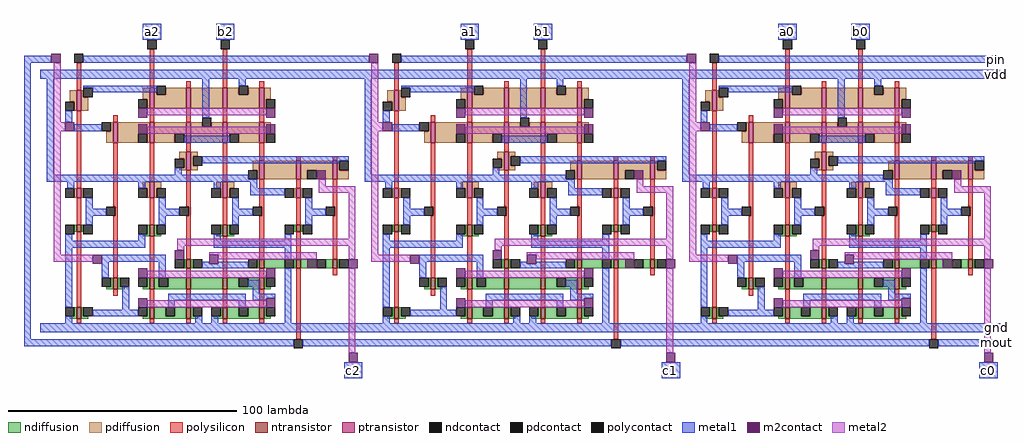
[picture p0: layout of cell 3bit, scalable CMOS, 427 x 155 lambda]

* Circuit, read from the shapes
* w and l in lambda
.subckt 3bit a0 a1 a2 b0 b1 b2 c0 c1 c2 gnd mout pin vdd
M1 n1 P3_take3_0_0/pin gnd VSUBS nfet w=5 l=2
M2 P3_take3_0_0/pinbar P3_take3_0_0/pin gnd VSUBS nfet w=3 l=2
M3 n1 P3_take3_0_0/pinbar mout VSUBS nfet w=5 l=2
M4 n2 a2 n1 VSUBS nfet w=5 l=2
M5 mout a2 n3 VSUBS nfet w=5 l=2
M6 P3_take3_0_0/abar a2 gnd VSUBS nfet w=5 l=2
M7 gnd P3_take3_0_0/abar n2 VSUBS nfet w=5 l=2
M8 n4 P3_take3_0_0/abar mout VSUBS nfet w=5 l=2
M9 n5 P3_take3_0_0/abar c2 VSUBS nfet w=4 l=2
M10 n2 b2 gnd VSUBS nfet w=5 l=2
M11 n1 b2 n4 VSUBS nfet w=5 l=2
M12 P3_take3_0_0/bbar b2 gnd VSUBS nfet w=5 l=2
M13 n1 P3_take3_0_0/bbar n2 VSUBS nfet w=5 l=2
M14 n3 P3_take3_0_0/bbar n1 VSUBS nfet w=5 l=2
M15 gnd P3_take3_0_0/bbar n5 VSUBS nfet w=4 l=2
M16 n5 mout gnd VSUBS nfet w=4 l=2
M17 P3_take3_0_0/minbar mout gnd VSUBS nfet w=3 l=2
M18 c2 P3_take3_0_0/minbar n5 VSUBS nfet w=4 l=2
M19 n6 P3_take3_0_1/pin gnd VSUBS nfet w=5 l=2
M20 P3_take3_0_1/pinbar P3_take3_0_1/pin gnd VSUBS nfet w=3 l=2
M21 n6 P3_take3_0_1/pinbar P3_take3_0_0/pin VSUBS nfet w=5 l=2
M22 n7 a1 n6 VSUBS nfet w=5 l=2
M23 P3_take3_0_0/pin a1 n8 VSUBS nfet w=5 l=2
M24 P3_take3_0_1/abar a1 gnd VSUBS nfet w=5 l=2
M25 gnd P3_take3_0_1/abar n7 VSUBS nfet w=5 l=2
M26 n9 P3_take3_0_1/abar P3_take3_0_0/pin VSUBS nfet w=5 l=2
M27 n10 P3_take3_0_1/abar c1 VSUBS nfet w=4 l=2
M28 n7 b1 gnd VSUBS nfet w=5 l=2
M29 n6 b1 n9 VSUBS nfet w=5 l=2
M30 P3_take3_0_1/bbar b1 gnd VSUBS nfet w=5 l=2
M31 n6 P3_take3_0_1/bbar n7 VSUBS nfet w=5 l=2
M32 n8 P3_take3_0_1/bbar n6 VSUBS nfet w=5 l=2
M33 gnd P3_take3_0_1/bbar n10 VSUBS nfet w=4 l=2
M34 n10 mout gnd VSUBS nfet w=4 l=2
M35 P3_take3_0_1/minbar mout gnd VSUBS nfet w=3 l=2
M36 c1 P3_take3_0_1/minbar n10 VSUBS nfet w=4 l=2
M37 n11 pin gnd VSUBS nfet w=5 l=2
M38 P3_take3_0_2/pinbar pin gnd VSUBS nfet w=3 l=2
M39 n11 P3_take3_0_2/pinbar P3_take3_0_1/pin VSUBS nfet w=5 l=2
M40 n12 a0 n11 VSUBS nfet w=5 l=2
M41 P3_take3_0_1/pin a0 n13 VSUBS nfet w=5 l=2
M42 P3_take3_0_2/abar a0 gnd VSUBS nfet w=5 l=2
M43 gnd P3_take3_0_2/abar n12 VSUBS nfet w=5 l=2
M44 n14 P3_take3_0_2/abar P3_take3_0_1/pin VSUBS nfet w=5 l=2
M45 n15 P3_take3_0_2/abar c0 VSUBS nfet w=4 l=2
M46 n12 b0 gnd VSUBS nfet w=5 l=2
M47 n11 b0 n14 VSUBS nfet w=5 l=2
M48 P3_take3_0_2/bbar b0 gnd VSUBS nfet w=5 l=2
M49 n11 P3_take3_0_2/bbar n12 VSUBS nfet w=5 l=2
M50 n13 P3_take3_0_2/bbar n11 VSUBS nfet w=5 l=2
M51 gnd P3_take3_0_2/bbar n15 VSUBS nfet w=4 l=2
M52 n15 mout gnd VSUBS nfet w=4 l=2
M53 P3_take3_0_2/minbar mout gnd VSUBS nfet w=3 l=2
M54 c0 P3_take3_0_2/minbar n15 VSUBS nfet w=4 l=2
M55 P3_take3_0_0/pinbar P3_take3_0_0/pin vdd NWELL pfet w=4 l=2
M56 n16 P3_take3_0_0/pin mout NWELL pfet w=9 l=2
M57 n17 P3_take3_0_0/pinbar mout NWELL pfet w=9 l=2
M58 P3_take3_0_0/abar a2 vdd NWELL pfet w=7 l=2
M59 n18 a2 n17 NWELL pfet w=9 l=2
M60 n16 a2 n19 NWELL pfet w=9 l=2
M61 n20 P3_take3_0_0/abar vdd NWELL pfet w=8 l=2
M62 vdd P3_take3_0_0/abar n18 NWELL pfet w=9 l=2
M63 n21 P3_take3_0_0/abar n16 NWELL pfet w=9 l=2
M64 P3_take3_0_0/bbar b2 vdd NWELL pfet w=7 l=2
M65 n18 b2 vdd NWELL pfet w=9 l=2
M66 vdd b2 n21 NWELL pfet w=9 l=2
M67 n22 P3_take3_0_0/bbar vdd NWELL pfet w=8 l=2
M68 n17 P3_take3_0_0/bbar n18 NWELL pfet w=9 l=2
M69 n19 P3_take3_0_0/bbar vdd NWELL pfet w=9 l=2
M70 P3_take3_0_0/minbar mout vdd NWELL pfet w=4 l=2
M71 c2 mout n22 NWELL pfet w=8 l=2
M72 n20 P3_take3_0_0/minbar c2 NWELL pfet w=8 l=2
M73 P3_take3_0_1/pinbar P3_take3_0_1/pin vdd NWELL pfet w=4 l=2
M74 n23 P3_take3_0_1/pin P3_take3_0_0/pin NWELL pfet w=9 l=2
M75 n24 P3_take3_0_1/pinbar P3_take3_0_0/pin NWELL pfet w=9 l=2
M76 P3_take3_0_1/abar a1 vdd NWELL pfet w=7 l=2
M77 n25 a1 n24 NWELL pfet w=9 l=2
M78 n23 a1 n26 NWELL pfet w=9 l=2
M79 n27 P3_take3_0_1/abar vdd NWELL pfet w=8 l=2
M80 vdd P3_take3_0_1/abar n25 NWELL pfet w=9 l=2
M81 n28 P3_take3_0_1/abar n23 NWELL pfet w=9 l=2
M82 P3_take3_0_1/bbar b1 vdd NWELL pfet w=7 l=2
M83 n25 b1 vdd NWELL pfet w=9 l=2
M84 vdd b1 n28 NWELL pfet w=9 l=2
M85 n29 P3_take3_0_1/bbar vdd NWELL pfet w=8 l=2
M86 n24 P3_take3_0_1/bbar n25 NWELL pfet w=9 l=2
M87 n26 P3_take3_0_1/bbar vdd NWELL pfet w=9 l=2
M88 P3_take3_0_1/minbar mout vdd NWELL pfet w=4 l=2
M89 c1 mout n29 NWELL pfet w=8 l=2
M90 n27 P3_take3_0_1/minbar c1 NWELL pfet w=8 l=2
M91 P3_take3_0_2/pinbar pin vdd NWELL pfet w=4 l=2
M92 n30 pin P3_take3_0_1/pin NWELL pfet w=9 l=2
M93 n31 P3_take3_0_2/pinbar P3_take3_0_1/pin NWELL pfet w=9 l=2
M94 P3_take3_0_2/abar a0 vdd NWELL pfet w=7 l=2
M95 n32 a0 n31 NWELL pfet w=9 l=2
M96 n30 a0 n33 NWELL pfet w=9 l=2
M97 n34 P3_take3_0_2/abar vdd NWELL pfet w=8 l=2
M98 vdd P3_take3_0_2/abar n32 NWELL pfet w=9 l=2
M99 n35 P3_take3_0_2/abar n30 NWELL pfet w=9 l=2
M100 P3_take3_0_2/bbar b0 vdd NWELL pfet w=7 l=2
M101 n32 b0 vdd NWELL pfet w=9 l=2
M102 vdd b0 n35 NWELL pfet w=9 l=2
M103 n36 P3_take3_0_2/bbar vdd NWELL pfet w=8 l=2
M104 n31 P3_take3_0_2/bbar n32 NWELL pfet w=9 l=2
M105 n33 P3_take3_0_2/bbar vdd NWELL pfet w=9 l=2
M106 P3_take3_0_2/minbar mout vdd NWELL pfet w=4 l=2
M107 c0 mout n36 NWELL pfet w=8 l=2
M108 n34 P3_take3_0_2/minbar c0 NWELL pfet w=8 l=2
.ends

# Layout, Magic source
magic
tech scmos
<< metal1 >>
rect 45 141 53 148
rect 77 141 85 148
rect 184 141 192 148
rect 216 141 224 148
rect 323 141 331 148
rect 355 141 363 148
rect -7 131 0 134
rect 417 131 420 134
rect -7 10 -4 131
rect 417 124 420 128
rect 417 13 420 17
rect -7 7 0 10
rect 417 7 420 10
rect 133 -7 141 0
rect 272 -7 280 0
rect 411 -7 419 0
use P3_take3  P3_take3_0
array 0 2 139 0 0 141
transform 1 0 16 0 1 10
box -16 -10 123 131
<< labels >>
rlabel metal1 417 131 420 134 7 pin
rlabel metal1 411 -7 419 0 8 c0
rlabel metal1 272 -7 280 0 1 c1
rlabel metal1 133 -7 141 0 1 c2
rlabel metal1 45 141 53 148 5 a2
rlabel metal1 77 141 85 148 5 b2
rlabel metal1 184 141 192 148 5 a1
rlabel metal1 216 141 224 148 5 b1
rlabel metal1 323 141 331 148 5 a0
rlabel metal1 355 141 363 148 5 b0
rlabel metal1 417 124 420 128 7 vdd
rlabel metal1 417 13 420 17 7 gnd
rlabel metal1 417 7 420 10 7 mout
<< end >>

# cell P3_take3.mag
magic
tech scmos
<< ntransistor >>
rect 0 47 2 50
rect 32 45 34 50
rect 64 45 66 50
rect 48 31 50 35
rect 96 47 98 50
rect 80 31 82 35
rect 96 31 98 35
rect 112 31 114 35
rect 16 22 18 27
rect 32 22 34 27
rect 48 22 50 27
rect 64 22 66 27
rect 80 22 82 27
rect 0 9 2 14
rect 32 9 34 14
rect 48 9 50 14
rect 64 9 66 14
rect 80 9 82 14
<< ptransistor >>
rect 0 100 2 109
rect 32 101 34 110
rect 48 101 50 110
rect 64 101 66 110
rect 80 101 82 110
rect 16 86 18 95
rect 32 86 34 95
rect 48 86 50 95
rect 64 86 66 95
rect 80 86 82 95
rect 0 62 2 66
rect 48 74 50 82
rect 32 62 34 69
rect 80 70 82 78
rect 96 70 98 78
rect 112 70 114 78
rect 64 62 66 69
rect 96 62 98 66
<< ndiffusion >>
rect -1 47 0 50
rect 2 47 3 50
rect 31 46 32 50
rect 29 45 32 46
rect 34 46 35 50
rect 34 45 37 46
rect 63 46 64 50
rect 61 45 64 46
rect 66 46 67 50
rect 66 45 69 46
rect 47 31 48 35
rect 50 31 51 35
rect 95 47 96 50
rect 98 47 99 50
rect 79 31 80 35
rect 82 31 91 35
rect 95 31 96 35
rect 98 31 105 35
rect 109 31 112 35
rect 114 31 115 35
rect 15 23 16 27
rect 13 22 16 23
rect 18 23 19 27
rect 31 23 32 27
rect 18 22 21 23
rect 29 22 32 23
rect 34 23 36 27
rect 40 23 48 27
rect 34 22 48 23
rect 50 22 64 27
rect 66 23 71 27
rect 75 23 80 27
rect 66 22 80 23
rect 82 23 83 27
rect 82 22 85 23
rect -1 10 0 14
rect -3 9 0 10
rect 2 10 3 14
rect 31 10 32 14
rect 2 9 5 10
rect 29 9 32 10
rect 34 10 39 14
rect 43 10 48 14
rect 34 9 48 10
rect 50 10 51 14
rect 63 10 64 14
rect 50 9 53 10
rect 60 9 64 10
rect 66 10 71 14
rect 75 10 80 14
rect 66 9 80 10
rect 82 10 83 14
rect 82 9 85 10
<< pdiffusion >>
rect -3 104 0 109
rect -1 100 0 104
rect 2 106 3 109
rect 2 100 5 106
rect 29 105 32 110
rect 31 101 32 105
rect 34 107 35 110
rect 39 107 48 110
rect 34 101 48 107
rect 50 101 64 110
rect 66 107 71 110
rect 75 107 80 110
rect 66 101 80 107
rect 82 105 85 110
rect 82 101 83 105
rect 15 91 16 95
rect 13 86 16 91
rect 18 90 32 95
rect 18 86 27 90
rect 31 86 32 90
rect 34 90 48 95
rect 34 86 43 90
rect 47 86 48 90
rect 50 93 55 95
rect 59 93 64 95
rect 50 86 64 93
rect 66 90 80 95
rect 66 86 67 90
rect 71 86 80 90
rect 82 90 85 95
rect 82 86 83 90
rect -1 62 0 66
rect 2 62 3 66
rect 45 79 48 82
rect 47 75 48 79
rect 45 74 48 75
rect 50 80 53 82
rect 50 76 51 80
rect 50 74 53 76
rect 29 66 32 69
rect 31 62 32 66
rect 34 66 37 69
rect 34 62 35 66
rect 77 74 80 78
rect 79 70 80 74
rect 82 70 96 78
rect 98 74 112 78
rect 98 70 101 74
rect 105 70 112 74
rect 114 74 115 78
rect 114 70 119 74
rect 61 66 64 69
rect 63 62 64 66
rect 66 66 69 69
rect 66 62 67 66
rect 95 62 96 66
rect 98 62 99 66
<< ndcontact >>
rect -5 46 -1 50
rect 3 46 7 50
rect 27 46 31 50
rect 35 46 39 50
rect 59 46 63 50
rect 67 46 71 50
rect 43 31 47 35
rect 51 31 55 35
rect 91 46 95 50
rect 99 46 103 50
rect 75 31 79 35
rect 91 31 95 35
rect 105 31 109 35
rect 115 31 119 35
rect 11 23 15 27
rect 19 23 23 27
rect 27 23 31 27
rect 36 23 40 27
rect 71 23 75 27
rect 83 23 87 27
rect -5 10 -1 14
rect 3 10 7 14
rect 27 10 31 14
rect 39 10 43 14
rect 51 10 55 14
rect 59 10 63 14
rect 71 10 75 14
rect 83 10 87 14
<< pdcontact >>
rect -5 100 -1 104
rect 3 106 7 110
rect 27 101 31 105
rect 35 107 39 111
rect 71 107 75 111
rect 83 101 87 105
rect 11 91 15 95
rect 27 86 31 90
rect 43 86 47 90
rect 55 93 59 97
rect 67 86 71 90
rect 83 86 87 90
rect -5 62 -1 66
rect 3 62 7 66
rect 43 75 47 79
rect 51 76 55 80
rect 27 62 31 66
rect 35 62 39 66
rect 75 70 79 74
rect 101 70 105 74
rect 115 74 119 78
rect 59 62 63 66
rect 67 62 71 66
rect 91 62 95 66
rect 99 62 103 66
<< polysilicon >>
rect 0 109 2 121
rect 32 110 34 127
rect 48 110 50 113
rect 64 110 66 127
rect 80 110 82 113
rect 0 66 2 100
rect 16 95 18 98
rect 32 95 34 101
rect 48 95 50 101
rect 64 95 66 101
rect 80 95 82 101
rect 0 50 2 62
rect 16 58 18 86
rect 32 69 34 86
rect 48 82 50 86
rect 17 54 18 58
rect 0 14 2 47
rect 16 27 18 54
rect 32 50 34 62
rect 48 58 50 74
rect 64 69 66 86
rect 80 78 82 86
rect 96 78 98 80
rect 112 78 114 80
rect 49 54 50 58
rect 32 27 34 45
rect 48 35 50 54
rect 64 50 66 62
rect 80 58 82 70
rect 96 66 98 70
rect 81 54 82 58
rect 48 27 50 31
rect 64 27 66 45
rect 80 35 82 54
rect 96 50 98 62
rect 112 58 114 70
rect 113 54 114 58
rect 96 35 98 47
rect 112 35 114 54
rect 80 27 82 31
rect 16 19 18 22
rect 32 14 34 22
rect 48 14 50 22
rect 64 14 66 22
rect 80 14 82 22
rect 0 7 2 9
rect 32 7 34 9
rect 48 7 50 9
rect 64 7 66 9
rect 80 7 82 9
rect 96 0 98 31
rect 112 28 114 31
<< polycontact >>
rect 31 127 35 131
rect 63 127 67 131
rect -1 121 3 125
rect 13 54 17 58
rect 45 54 49 58
rect 77 54 81 58
rect 109 54 113 58
rect 95 -4 99 0
<< metal1 >>
rect -16 121 -11 124
rect 3 121 123 124
rect -16 114 123 118
rect -13 72 -10 114
rect 3 110 35 111
rect 7 108 35 110
rect -5 95 -2 100
rect 55 97 58 114
rect 71 111 74 114
rect -1 91 11 94
rect 47 86 67 89
rect 55 78 119 80
rect 55 77 115 78
rect 43 72 46 75
rect -13 70 75 72
rect -13 69 79 70
rect -4 66 -1 69
rect 27 66 30 69
rect 60 66 63 69
rect 76 66 79 69
rect 76 63 91 66
rect 4 57 7 62
rect 4 54 13 57
rect 36 57 39 62
rect 36 54 45 57
rect 68 57 71 62
rect 68 54 77 57
rect 100 57 103 62
rect 100 54 109 57
rect 4 50 7 54
rect 36 50 39 54
rect 68 50 71 54
rect 100 50 103 54
rect -5 43 -2 46
rect 27 43 30 46
rect -5 40 30 43
rect 60 43 63 46
rect 91 43 94 46
rect 60 40 94 43
rect -5 14 -2 40
rect 11 34 39 37
rect 11 27 14 34
rect 36 27 39 34
rect 55 33 58 34
rect 91 35 94 40
rect 62 33 75 34
rect 55 31 75 33
rect 75 23 80 26
rect 20 13 23 23
rect 77 20 80 23
rect 40 17 74 20
rect 77 18 87 20
rect 77 17 83 18
rect 40 14 43 17
rect 71 14 74 17
rect 7 10 27 13
rect -5 7 -2 10
rect 52 7 55 10
rect 59 7 62 10
rect 91 7 94 31
rect -16 3 123 7
rect -16 -3 95 0
rect 99 -3 123 0
<< m2contact >>
rect -11 121 -7 125
rect 27 97 31 101
rect 83 97 87 101
rect -5 91 -1 95
rect 27 90 31 94
rect 83 90 87 94
rect 105 70 109 74
rect 7 33 11 37
rect 27 27 31 31
rect 43 35 47 39
rect 58 33 62 37
rect 101 31 105 35
rect 119 31 123 35
rect 83 27 87 31
rect 27 14 31 18
rect 83 14 87 18
rect 119 -10 123 -6
<< metal2 >>
rect -10 95 -7 121
rect 31 98 83 101
rect -10 91 -5 95
rect -10 37 -7 91
rect 31 90 83 93
rect 106 67 109 70
rect 106 64 122 67
rect 119 44 122 64
rect 44 41 122 44
rect 44 39 47 41
rect -10 34 7 37
rect 58 37 105 38
rect 62 35 105 37
rect 119 35 122 41
rect 31 27 83 30
rect 31 14 83 17
rect 119 -6 122 31
<< labels >>
rlabel metal1 -3 3 -1 5 1 gnd
rlabel metal2 119 -6 121 -4 1 fout
rlabel polysilicon 48 7 50 9 1 abar
rlabel metal1 -15 121 -13 123 3 pout
rlabel polysilicon 0 118 2 120 1 pin
rlabel polysilicon 32 124 34 126 1 a
rlabel polysilicon 96 0 98 2 1 min
rlabel polysilicon 112 38 114 40 1 minbar
rlabel polysilicon 64 124 66 126 1 b
rlabel metal1 -15 114 -13 116 3 vdd
rlabel polysilicon 16 19 18 22 1 pinbar
rlabel polysilicon 80 7 82 9 1 bbar
<< end >>
